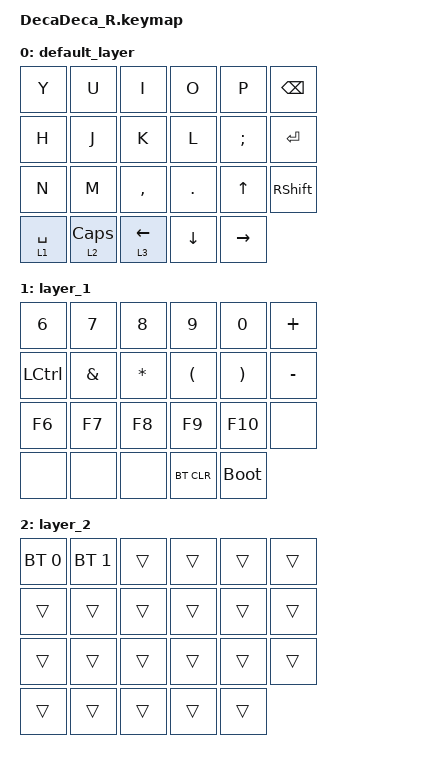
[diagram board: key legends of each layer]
#include <dt-bindings/zmk/mouse.h>
#include <behaviors.dtsi>
#include <dt-bindings/zmk/bt.h>
#include <dt-bindings/zmk/keys.h>

/ {
    keymap {
        compatible = "zmk,keymap";

        default_layer {
            bindings = <
&kp Y        &kp U           &kp I       &kp O       &kp P          &kp BACKSPACE
&kp H        &kp J           &kp K       &kp L       &kp SEMICOLON  &kp ENTER
&kp N        &kp M           &kp COMMA   &kp PERIOD  &kp UP_ARROW   &kp RSHIFT
&lt 1 SPACE  &lt 2 CAPSLOCK  &lt 3 LEFT  &kp DOWN    &kp RIGHT
            >;
        };

        layer_1 {
            bindings = <
&kp NUMBER_6  &kp N7         &kp N8        &kp N9                &kp N0                 &kp PLUS
&kp LCTRL     &kp AMPERSAND  &kp ASTERISK  &kp LEFT_PARENTHESIS  &kp RIGHT_PARENTHESIS  &kp MINUS
&kp F6        &kp F7         &kp F8        &kp F9                &kp F10                &none
&none         &none          &none         &bt BT_CLR            &bootloader
            >;
        };

        layer_2 {
            bindings = <
&bt BT_SEL 0  &bt BT_SEL 1  &trans  &trans  &trans  &trans
&trans        &trans        &trans  &trans  &trans  &trans
&trans        &trans        &trans  &trans  &trans  &trans
&trans        &trans        &trans  &trans  &trans
            >;
        };
    };
};
